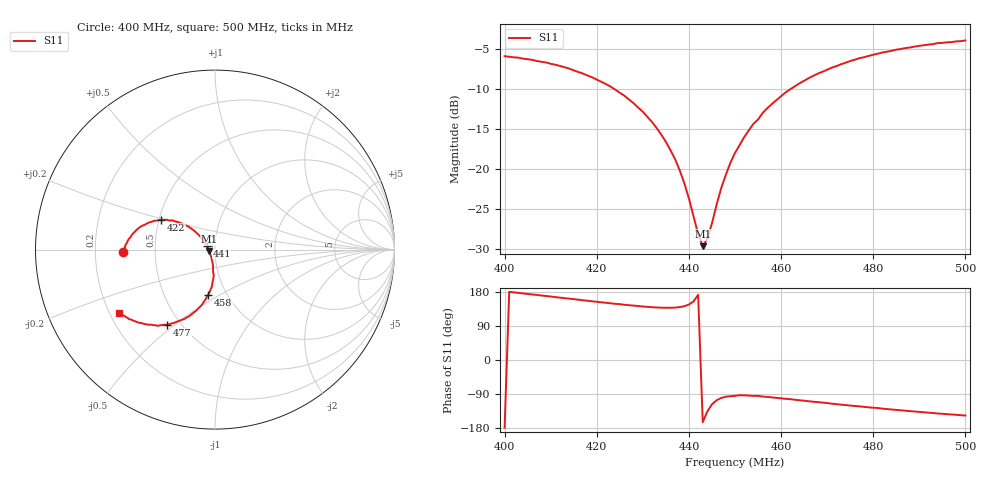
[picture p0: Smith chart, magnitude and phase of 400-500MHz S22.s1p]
# Hz S RI R 50
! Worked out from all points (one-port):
!   101 points, 400 MHz to 500 MHz, reference 50 ohm
!   lowest |S11| = -29.6 dB at 443 MHz (marker M1), VSWR 1.07, Z = 46.9 - j0.85 ohm
!   |S11| at or under -10 dB: 423.9 MHz to 462 MHz (38.01 MHz wide, 8.58 % of centre)
!   S11 on the Smith chart (normalised r, x): 400 MHz: 0.32, -0.01; 422 MHz: 0.52, +0.19; 441 MHz: 0.91, +0.04; 458 MHz: 0.82, -0.44; 477 MHz: 0.42, -0.47; 500 MHz: 0.24, -0.29
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4e8  -0.5103 -0.0114
4.06e8  -0.4801 0.0597
4.13e8  -0.4167 0.1262
4.22e8  -0.2985 0.166
4.25e8  -0.2542 0.1618
4.28e8  -0.2085 0.1542
4.32e8  -0.1498 0.129
4.35e8  -0.1101 0.0998
4.37e8  -0.0862 0.0772
4.38e8  -0.0751 0.0638
4.39e8  -0.0645 0.0506
4.41e8  -0.046 0.0218
4.42e8  -0.0389 0.00553
4.43e8  -0.0318 -0.00905
4.44e8  -0.0264 -0.0257
4.45e8  -0.0208 -0.0409
4.47e8  -0.0136 -0.0749
4.49e8  -0.0108 -0.1094
4.5e8  -0.0103 -0.1263
4.54e8  -0.0155 -0.1922
4.58e8  -0.0386 -0.2533
4.63e8  -0.0849 -0.3197
4.68e8  -0.1433 -0.3706
4.75e8  -0.2398 -0.4116
4.77e8  -0.2649 -0.4193
4.88e8  -0.4086 -0.4092
4.94e8  -0.4807 -0.3863
5e8  -0.5339 -0.353
